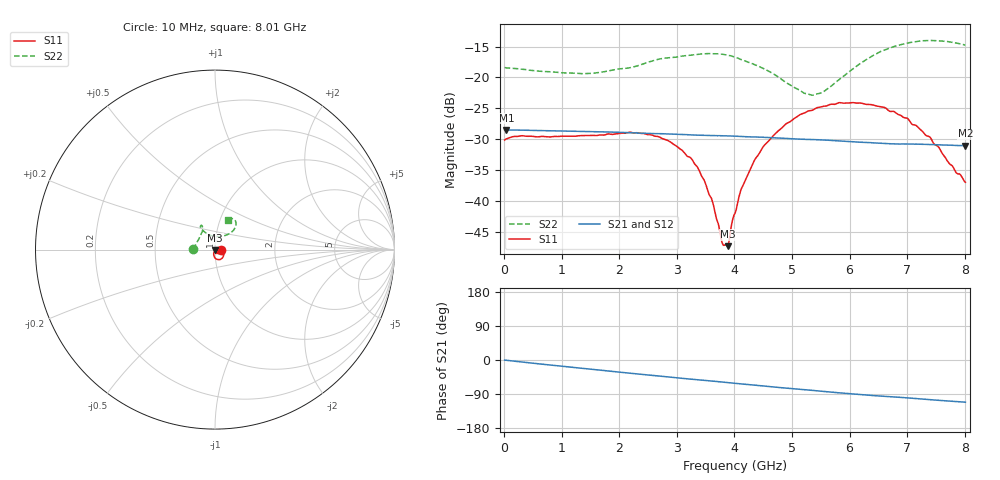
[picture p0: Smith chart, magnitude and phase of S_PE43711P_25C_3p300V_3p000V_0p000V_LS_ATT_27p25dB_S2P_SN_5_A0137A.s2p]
! Device ID: PE43711P
! File Path: z:\PE43711P\CHAR_NOM_04282014\AMB\3p300\LS_ATT_27p25dB\PE43711P_AMB_3p300V_3p000V_0p000V_LS_ATT_27p25dB_S2P_SN_5_A0137A.s2p
! Serial: 5
! Lot: A0137A
! Temp: 25C
! VDD: 3.300
! VSS: 0.000
! Control_Hi: 3.000
! Control_Lo: 0.000
! Attenuation Step: 27.25dB
! Port 1: RF1
! Port 2: RF2
! ThroughPath:1-2
! IDD: 0.0001278083
! ISS: -5.98e-008
#  Hz  S  RI  R  50
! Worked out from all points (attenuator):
!   801 points, 10 MHz to 8.01 GHz, reference 50 ohm
!   highest |S21| = -28.50 dB at 40 MHz (marker M1); lowest = -31.1 dB at 8.01 GHz (marker M2)
!   lowest |S11| = -47.3 dB at 3.88 GHz (marker M3), VSWR 1.01, Z = 50.2 - j0.399 ohm
!   |S11| at or under -10 dB: start of sweep to end of sweep
!   |S22| runs from -22.9 to -14.0 dB; largest |S21 - S12| = 0.00013
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1e7  0.0311 0.000448  0.0376 -0.000153  0.0376 -0.000157  -0.1202 0.000915
4e7  0.0318 0.000738  0.0376 -0.000456  0.0376 -0.000458  -0.1195 0.00255
1.35e9  0.0338 -0.00118  0.034 -0.0136  0.034 -0.0136  -0.0933 0.0529
2.19e9  0.036 0.00112  0.0292 -0.0205  0.0293 -0.0204  -0.0722 0.0958
2.68e9  0.0329 0.00441  0.026 -0.0235  0.026 -0.0235  -0.0695 0.122
3.06e9  0.0257 0.00568  0.0232 -0.0257  0.0232 -0.0257  -0.0707 0.1302
3.36e9  0.0181 0.00473  0.021 -0.0269  0.021 -0.0269  -0.0733 0.1348
3.61e9  0.0102 0.00122  0.0191 -0.0279  0.0192 -0.0279  -0.0778 0.1346
3.79e9  0.00404 -0.00211  0.0178 -0.0287  0.0178 -0.0287  -0.0806 0.1313
3.88e9  0.00168 -0.00397  0.017 -0.029  0.0171 -0.029  -0.0808 0.128
4.01e9  -0.00142 -0.00781  0.016 -0.0294  0.016 -0.0295  -0.0801 0.1219
4.15e9  -0.00404 -0.0128  0.0148 -0.0297  0.0148 -0.0298  -0.0758 0.115
4.34e9  -0.00708 -0.0198  0.0133 -0.0302  0.0133 -0.0302  -0.0684 0.1074
4.51e9  -0.00747 -0.0269  0.0119 -0.0305  0.0119 -0.0306  -0.0606 0.101
4.9e9  -0.0029 -0.0422  0.00874 -0.0309  0.00874 -0.0309  -0.0356 0.0834
5.35e9  0.0102 -0.0533  0.00536 -0.031  0.00541 -0.031  0.00552 0.0716
5.55e9  0.0184 -0.0555  0.00382 -0.0309  0.00387 -0.0309  0.0274 0.0718
6.04e9  0.0373 -0.0501  0.000357 -0.0302  0.000294 -0.0302  0.0764 0.0868
6.68e9  0.0473 -0.0256  -0.00336 -0.0289  -0.00328 -0.0289  0.1141 0.1286
7e9  0.0446 -0.014  -0.005 -0.0285  -0.00495 -0.0285  0.1173 0.1485
7.39e9  0.0329 -0.00278  -0.00722 -0.0278  -0.00718 -0.0277  0.1064 0.1683
8.01e9  0.0141 -0.0014  -0.0102 -0.0261  -0.0102 -0.0261  0.0749 0.1662
